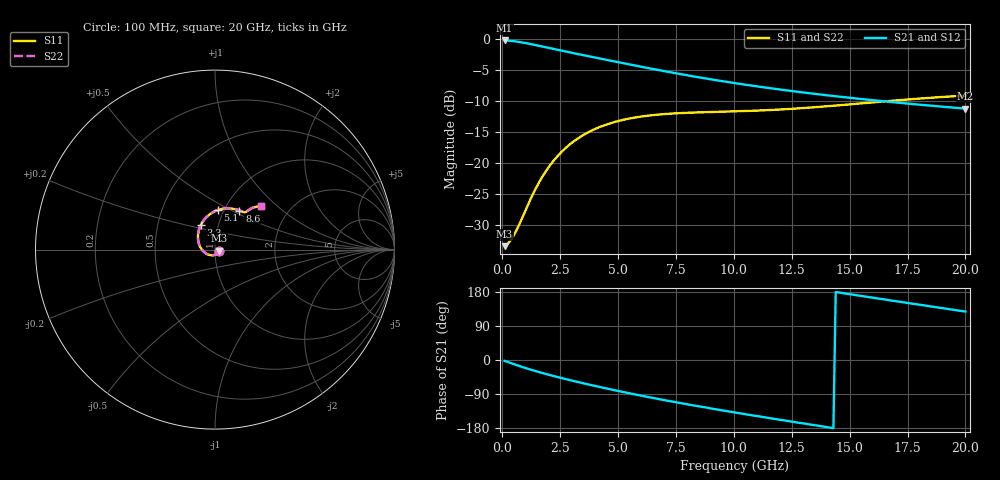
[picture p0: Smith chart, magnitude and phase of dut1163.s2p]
! Touchstone file exported from HFSS 2024.1.0
!  File:  C:/UserFiles/LocalFiles/RDL_TSV_Batchsim/temp_RDL_TSV_1163_1780121496.aedt
!  Generated:  02:24:34 PM May 30, 2026
!  Design:  RDL_TSV
!  Project:  temp_RDL_TSV_1163_1780121496
!  Setup:  Setup1
!  Solution:  Sweep
! Variables:
!  dtsv = 14.95um
!  hbump = 3um
!  htsv = 99.02um
!  ldown = 340.98um
!  lrdl = 438.97um
!  p = 40
!  p1 = 47.64um
!  rhole = 10um
!  subl = 2778.82um
!  t = 450um
!  tdown = 2.19um
!  trdl = 3.07um
!  viad = 10um
!  wdown = 19.28um
!  wrdl = 16.32um
!  xbump = 18um
# GHz S MA R 50.000000
! Terminal data exported
! Port[1] = TM1_1_T1
! Port[2] = TM1_4_T1
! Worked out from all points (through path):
!   200 points, 100 MHz to 20 GHz, reference 50 ohm
!   highest |S21| = -0.19 dB at 100 MHz (marker M1); lowest = -11.2 dB at 20 GHz (marker M2)
!   group delay of S21, straight-line fit = 30.3 ps
!   lowest |S11| = -33.5 dB at 100 MHz (marker M3), VSWR 1.04, Z = 52.1 - j0.547 ohm
!   |S11| at or under -10 dB: start of sweep to 16.69 GHz
!   |S22| runs from -33.5 to -9.0 dB; largest |S21 - S12| = 2.4e-14
!   S11 on the Smith chart (normalised r, x): 100 MHz: 1.04, -0.01; 3.3 GHz: 0.83, +0.23; 5.1 GHz: 0.93, +0.43; 8.6 GHz: 1.18, +0.55; 20 GHz: 1.43, +0.79
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0.1  0.02112 -14.4  0.9784 -2.2  0.9784 -2.2  0.02112 -14.4
! Gamma 0 0 0 0
! Port Impedance 50 0 50 0
0.3  0.02279 -43.8  0.9733 -6.7  0.9733 -6.7  0.02278 -43.8
0.5  0.02591 -72.7  0.9645 -11.0  0.9645 -11.0  0.0259 -72.7
1  0.0411 -131.8  0.9323 -21.1  0.9323 -21.1  0.04114 -131.9
1.5  0.06475 -170.7  0.8925 -30.4  0.8925 -30.4  0.06491 -170.8
1.9  0.08646 167.3  0.8599 -37.2  0.8599 -37.2  0.08674 167.2
2.3  0.1086 150.1  0.8284 -43.7  0.8284 -43.7  0.109 150.0
2.8  0.1351 133.0  0.7914 -51.3  0.7914 -51.3  0.1357 133.0
3.3  0.1591 119.4  0.7568 -58.6  0.7568 -58.6  0.1598 119.4
3.5  0.1679 114.6  0.7435 -61.5  0.7435 -61.5  0.1687 114.6
4.3  0.1979 98.6  0.6932 -72.5  0.6932 -72.5  0.1989 98.7
5.1  0.22 86.3  0.6469 -83.0  0.6469 -83.0  0.2212 86.4
5.9  0.2353 76.7  0.6042 -92.9  0.6042 -92.9  0.2367 76.8
6.8  0.2462 68.4  0.5608 -103.6  0.5608 -103.6  0.2477 68.5
7.7  0.2526 62.3  0.5222 -113.8  0.5222 -113.8  0.2542 62.4
8.6  0.2563 57.9  0.488 -123.5  0.488 -123.5  0.258 57.9
10.1  0.261 53.3  0.4399 -139.1  0.4399 -139.1  0.2627 53.5
11.7  0.2682 51.1  0.3986 -154.9  0.3986 -154.9  0.27 51.2
13.4  0.2809 50.0  0.3632 -171.3  0.3632 -171.3  0.2829 50.1
16.7  0.3163 47.6  0.3116 157.9  0.3116 157.9  0.3189 47.8
18.3  0.334 45.8  0.2922 143.2  0.2922 143.2  0.3369 45.9
20  0.3504 43.5  0.2746 127.8  0.2746 127.8  0.3536 43.7
